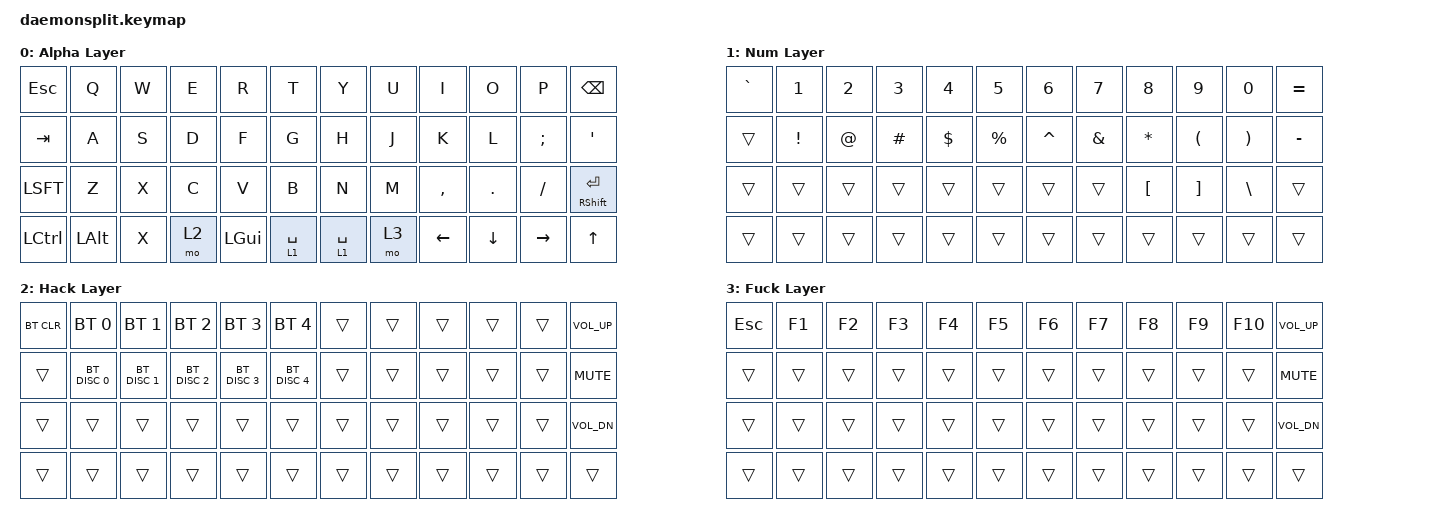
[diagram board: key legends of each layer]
// This file was generated from a template. Edit it to match your keyboard.
// See https://zmk.dev/docs/development/hardware-integration/new-shield for more instructions.

#include <behaviors.dtsi>
#include <dt-bindings/zmk/keys.h>
#include <dt-bindings/zmk/bt.h>

/ {
    // Define a default keymap here.
    // See https://zmk.dev/docs/development/hardware-integration/new-shield#default-keymap.
    keymap {
        compatible = "zmk,keymap";

            default_layer {
                // LAYER 0
                display-name = "Alpha Layer";
                bindings = <
                    &kp ESC    &kp Q      &kp W   &kp E    &kp R     &kp T             &kp Y        &kp U        &kp I      &kp O      &kp P      &kp BSPC
                    &kp TAB    &kp A      &kp S   &kp D    &kp F     &kp G             &kp H        &kp J        &kp K      &kp L      &kp SEMI   &kp SQT
                    &kp LSFT   &kp Z      &kp X   &kp C    &kp V     &kp B             &kp N        &kp M        &kp COMMA  &kp DOT    &kp SLASH  &mt RSHFT RET
                    &kp LCTL   &kp LALT   &kp X   &mo 2    &kp LGUI  &lt 1 SPACE       &lt 1 SPACE  &mo 3        &kp LEFT   &kp DOWN   &kp RIGHT  &kp UP

                >;     
            };
            num_layer {
              // LAYER 1
              display-name = "Num Layer";
              bindings = <
                  &kp GRAVE  &kp N1     &kp N2   &kp N3     &kp N4    &kp N5         &kp N6       &kp N7       &kp N8     &kp N9     &kp N0      &kp EQUAL
                  &trans     &kp EXCL   &kp AT   &kp HASH   &kp DLLR  &kp PRCNT      &kp CARET    &kp AMPS     &kp ASTRK  &kp LPAR   &kp RPAR    &kp MINUS
                  &trans     &trans     &trans   &trans     &trans    &trans         &trans       &trans       &kp LBKT   &kp RBKT   &kp BSLH    &trans
                  &trans     &trans     &trans   &trans     &trans    &trans         &trans       &trans       &trans     &trans     &trans      &trans
              >;
            }; 

           hack_layer {
               // LAYER 2
               display-name = "Hack Layer";
               bindings = <
                   &bt BT_CLR   &bt BT_SEL 0   &bt BT_SEL 1   &bt BT_SEL 2   &bt BT_SEL 3   &bt BT_SEL 4                &trans       &trans       &trans     &trans     &trans      &kp C_VOL_UP
                   &trans       &bt BT_DISC 0  &bt BT_DISC 1  &bt BT_DISC 2  &bt BT_DISC 3  &bt BT_DISC 4               &trans       &trans       &trans     &trans     &trans      &kp C_MUTE
                   &trans       &trans         &trans         &trans         &trans         &trans                      &trans       &trans       &trans     &trans     &trans      &kp C_VOL_DN
                   &trans       &trans         &trans         &trans         &trans         &trans                      &trans       &trans       &trans     &trans     &trans      &trans
               >;
           };  

        fuck_layer {
            // LAYER 3
            display-name = "Fuck Layer";
            bindings = <
                &kp ESC    &kp F1     &kp F2   &kp F3     &kp F4    &kp F5         &kp F6       &kp F7       &kp F8     &kp F9     &kp F10     &kp C_VOL_UP
                &trans     &trans     &trans   &trans     &trans    &trans         &trans       &trans       &trans     &trans     &trans      &kp C_MUTE
                &trans     &trans     &trans   &trans     &trans    &trans         &trans       &trans       &trans     &trans     &trans      &kp C_VOL_DN
                &trans     &trans     &trans   &trans     &trans    &trans         &trans       &trans       &trans     &trans     &trans      &trans
            >;
        };  

    };
};
